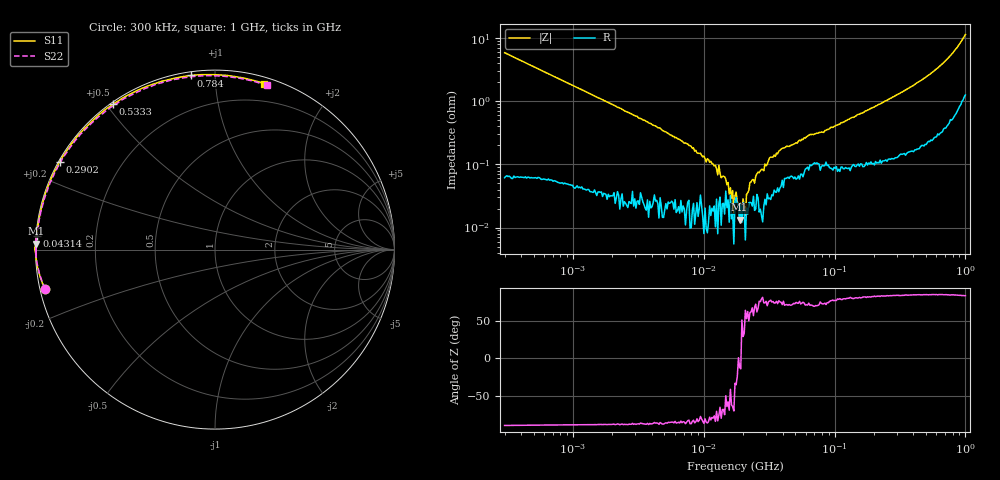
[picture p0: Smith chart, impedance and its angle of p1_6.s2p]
#  HZ  S  RI  R  50
! Rohde & Schwarz ZVA/B
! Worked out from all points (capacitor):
!   401 points, 300 kHz to 1 GHz, reference 50 ohm
!   read as one part in shunt: C = 90.4 nF near 312.4 kHz
!   lowest |Z| = 13.4 mohm at 18.78 MHz (marker M1)
!   series resonance near 18.4 MHz, so ESL is about 830 pH
!   S11 on the Smith chart (normalised r, x): 300 kHz: 0.01, -0.11; 43.14 MHz: 0.00, +0.04; 290.2 MHz: 0.00, +0.26; 533.3 MHz: 0.01, +0.52; 784 MHz: 0.02, +0.87; 1 GHz: 0.05, +1.34
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300000  -0.9472 -0.2193  0.0538 -0.2216  0.0543 -0.2223  -0.9451 -0.2191
1167356  -0.995 -0.0585  0.00529 -0.0602  0.00521 -0.0603  -0.9944 -0.0582
4542403  -0.9988 -0.00771  0.000671 -0.0151  0.000967 -0.015  -0.9982 -0.00624
7696136  -0.9993 0.00507  0.00103 -0.00791  0.000898 -0.00778  -0.9986 0.00654
1.303947e7  -0.9991 0.0183  0.000893 -0.00376  0.000616 -0.00357  -0.999 0.0207
1.472662e7  -1 0.0257  0.00146 -0.00182  0.000484 -0.00157  -0.9974 0.0244
1.597099e7  -0.9982 0.0248  0.00126 -0.00115  0.000635 -0.00105  -0.9968 0.0256
1.629818e7  -0.9977 0.0254  0.000521 -0.00104  0.000629 -0.00112  -0.9969 0.0273
1.732051e7  -0.9994 0.0268  0.00105 -0.000725  0.000807 -0.000247  -0.9963 0.0277
1.878406e7  -0.9984 0.0324  0.000518 -0.000126  0.00118 1.4e-05  -0.9961 0.0316
2.037127e7  -0.9998 0.0355  0.000756 0.000459  0.000953 0.000706  -0.9985 0.0351
2.300707e7  -0.9975 0.0386  0.00106 0.00182  0.000727 0.00182  -0.9969 0.04
2.598391e7  -0.9977 0.0453  0.00131 0.00272  0.00124 0.00214  -0.997 0.0471
3.594345e7  -0.9954 0.0647  0.00182 0.00571  0.0017 0.00585  -0.9937 0.0665
4.314043e7  -0.9942 0.0764  0.00298 0.00714  0.00313 0.00713  -0.9923 0.0789
6.739735e7  -0.9882 0.1202  0.00523 0.0107  0.00485 0.0109  -0.9855 0.121
1.456519e8  -0.9618 0.2543  0.00927 0.0208  0.00915 0.0209  -0.9582 0.2576
2.622557e8  -0.8879 0.4461  0.0224 0.0342  0.0222 0.034  -0.8808 0.4485
2.902425e8  -0.8646 0.4898  0.0263 0.0368  0.0263 0.0362  -0.8568 0.4927
5.333065e8  -0.5691 0.8092  0.0713 0.0415  0.0718 0.0417  -0.5581 0.8085
7.839956e8  -0.1338 0.9701  0.1222 0.00686  0.1218 0.00683  -0.1227 0.9643
1e9  0.2752 0.9253  0.1435 -0.0561  0.1436 -0.0559  0.2895 0.916
